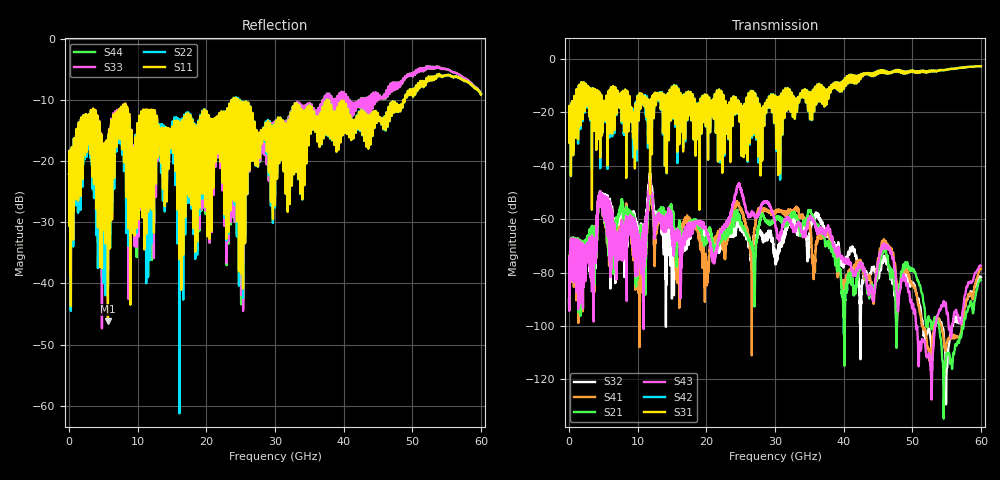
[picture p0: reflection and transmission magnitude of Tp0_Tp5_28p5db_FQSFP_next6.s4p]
!4 port subset of full cascaded channels using these ports:53 37 54 38
# Hz S RI R 50
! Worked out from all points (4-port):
!   6000 points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, 10 MHz to 60 GHz, reference 50 ohm
!   strongest paths, dB at 10 MHz, 15.01 GHz, 30.01 GHz, 45.01 GHz, 60 GHz:
!     S31: -20.0, -10.9, -13.9, -5.3, -2.7
!     S42: -20.0, -10.7, -13.8, -5.2, -2.7
!     S43: -90.3, -62.9, -61.3, -75.9, -77.5
!     S21: -90.0, -57.5, -60.1, -78.8, -82.7
!     S41: -90.1, -59.2, -57.7, -74.7, -78.6
!     S32: -90.1, -65.7, -72.5, -80.2, -81.8
!   lowest |S11| = -46.2 dB at 5.66 GHz (marker M1), VSWR 1.01, Z = 50.4 + j0.285 ohm
!   |S11| at or under -10 dB: start of sweep to 23.68 GHz; 24.62 GHz to 37.56 GHz (12.94 GHz wide, 41.6 % of centre); 37.58 GHz to 48.71 GHz (11.13 GHz wide, 25.8 % of centre)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
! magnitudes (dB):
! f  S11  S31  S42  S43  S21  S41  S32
! 10 MHz  -22.0  -20.0  -20.0  -90.3  -90.0  -90.1  -90.1
! 5.66 GHz  -46.2  -21.2  -21.2  -60.4  -61.8  -62.5  -59.7
! 21.1 GHz  -19.4  -22.5  -22.4  -73.5  -70.1  -67.7  -69.0
! 24.73 GHz  -18.9  -16.9  -17.0  -47.2  -59.0  -53.9  -60.3
! 26.57 GHz  -20.0  -15.0  -14.9  -57.6  -69.2  -77.9  -71.2
! 41.49 GHz  -15.1  -7.5  -7.6  -80.7  -86.7  -78.2  -71.6
! 60 GHz  -9.1  -2.7  -2.7  -77.5  -82.7  -78.6  -81.8
